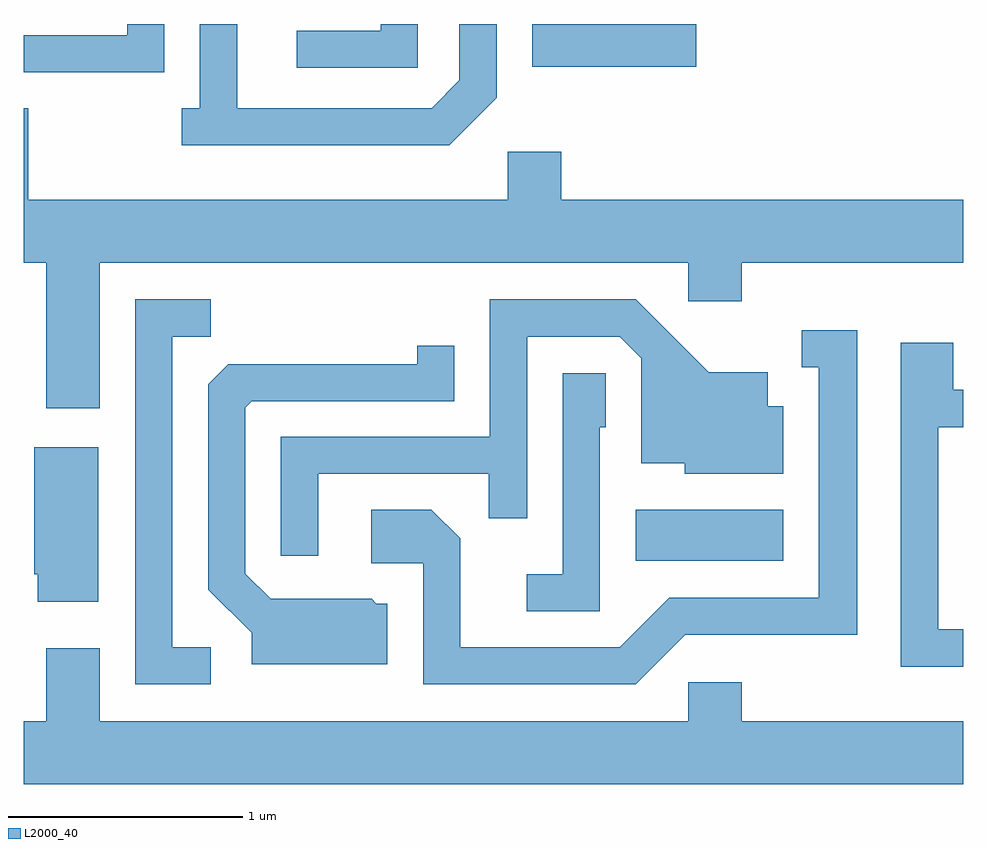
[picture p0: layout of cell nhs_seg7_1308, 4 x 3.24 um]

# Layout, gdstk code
import gdstk
lib = gdstk.Library(unit=1e-6, precision=1e-09)
def R(c, l, rs):  # rectangles x0, y0, x1, y1
    for r in rs: c.add(gdstk.rectangle(r[:2], r[2:], *l))
def P(c, l, *ps):  # polygons
    for p in ps: c.add(gdstk.Polygon(p, *l))
L2000_40 = (2000, 40)

nhs_seg7_1308 = lib.new_cell('nhs_seg7_1308')
R(nhs_seg7_1308, L2000_40, [(228.216,1681.966,228.844,1682.184), (227.776,1684.071,228.474,1684.252)])
P(nhs_seg7_1308, L2000_40, [(227.624,1683.939),(227.624,1684.252),(227.466,1684.252),(227.466,1684.012),(227.349,1683.894),(226.519,1683.894),(226.519,1684.252),(226.361,1684.252),(226.361,1683.894),(226.283,1683.894),(226.283,1683.736),(227.422,1683.736)],
  [(227.289,1684.252),(227.131,1684.252),(227.131,1684.224),(226.773,1684.224),(226.773,1684.066),(227.289,1684.066)],
  [(226.209,1684.252),(226.051,1684.252),(226.051,1684.204),(225.611,1684.204),(225.611,1684.046),(226.209,1684.046)],
  [(225.934,1683.236),(228.441,1683.236),(228.441,1683.071),(228.669,1683.071),(228.669,1683.236),(229.611,1683.236),(229.611,1683.504),(227.899,1683.504),(227.899,1683.709),(227.671,1683.709),(227.671,1683.504),(225.629,1683.504),(225.629,1683.894),(225.611,1683.894),(225.611,1683.236),(225.706,1683.236),(225.706,1682.616),(225.934,1682.616)],
  [(226.864,1682.336),(227.591,1682.336),(227.591,1682.148),(227.754,1682.148),(227.754,1682.921),(228.149,1682.921),(228.241,1682.829),(228.241,1682.381),(228.426,1682.381),(228.426,1682.336),(228.844,1682.336),(228.844,1682.624),(228.779,1682.624),(228.779,1682.769),(228.527,1682.769),(228.217,1683.079),(227.596,1683.079),(227.596,1682.494),(226.706,1682.494),(226.706,1681.988),(226.864,1681.988)],
  [(226.408,1681.599),(226.244,1681.599),(226.244,1682.921),(226.408,1682.921),(226.408,1683.079),(226.086,1683.079),(226.086,1681.441),(226.408,1681.441)],
  [(228.427,1681.651),(229.159,1681.651),(229.159,1682.949),(228.923,1682.949),(228.923,1682.791),(228.996,1682.791),(228.996,1681.809),(228.359,1681.809),(228.149,1681.599),(227.469,1681.599),(227.469,1682.062),(227.347,1682.184),(227.091,1682.184),(227.091,1681.956),(227.311,1681.956),(227.311,1681.441),(228.217,1681.441)],
  [(229.611,1681.674),(229.504,1681.674),(229.504,1682.536),(229.611,1682.536),(229.611,1682.694),(229.569,1682.694),(229.569,1682.894),(229.346,1682.894),(229.346,1681.516),(229.611,1681.516)],
  [(227.159,1681.784),(227.112,1681.784),(227.092,1681.804),(226.662,1681.804),(226.554,1681.912),(226.554,1682.619),(226.582,1682.646),(227.444,1682.646),(227.444,1682.883),(227.286,1682.883),(227.286,1682.804),(226.482,1682.804),(226.396,1682.719),(226.396,1681.844),(226.581,1681.659),(226.581,1681.526),(227.159,1681.526)],
  [(228.064,1682.536),(228.089,1682.536),(228.089,1682.764),(227.906,1682.764),(227.906,1681.909),(227.753,1681.909),(227.753,1681.751),(228.064,1681.751)],
  [(225.929,1682.449),(225.656,1682.449),(225.656,1681.91),(225.671,1681.91),(225.671,1681.791),(225.929,1681.791)],
  [(229.611,1681.284),(228.669,1681.284),(228.669,1681.449),(228.441,1681.449),(228.441,1681.284),(225.934,1681.284),(225.934,1681.594),(225.706,1681.594),(225.706,1681.284),(225.611,1681.284),(225.611,1681.016),(229.611,1681.016)])

lib.write_gds('nhs_seg7_1308.gds')
